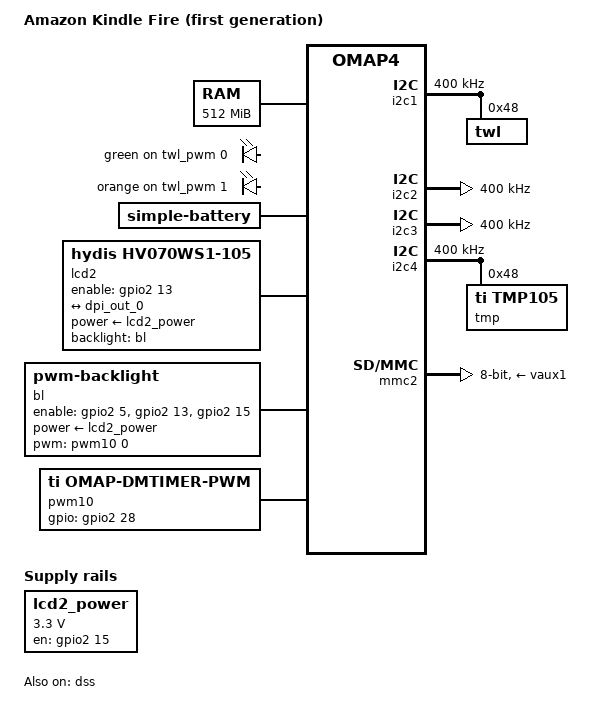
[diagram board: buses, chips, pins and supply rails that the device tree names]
// SPDX-License-Identifier: GPL-2.0-only
/*
 * Copyright (C) 2016 Paul Kocialkowski <contact@paulk.fr>
 *
 * 04/25/2021:
 * Hansem Ro 					: Backlight, PWM LED, PWM GPTimer, Battery, and pinmux configs, and all other crucial platform support
 * Michael John Sakellaropoulos : Added LCD powereg, Added required DSS nodes and graph_port connections for LCD2 over DPI
 */
/dts-v1/;

#include "omap443x.dtsi"

/ {
	model = "Amazon Kindle Fire (first generation)";
	compatible = "amazon,omap4-kc1", "ti,omap4430", "ti,omap4";

	memory@80000000 {
		device_type = "memory";
		reg = <0x80000000 0x20000000>; /* 512 MB */
	};

	led-controller {
		compatible = "pwm-leds";

		led-1 {
			label = "green";
			pwms = <&twl_pwm 0 7812500>;
			max-brightness = <127>;
		};

		led-2 {
			label = "orange";
			pwms = <&twl_pwm 1 7812500>;
			max-brightness = <127>;
		};
	};

	bat: battery {
		compatible = "simple-battery";
		/* Documentation/devicetree/bindings/power/supply/battery.yaml */
	};

	chosen {
		#address-cells = <1>;
		#size-cells = <1>;
		ranges;

		stdout-path = "serial2";

	};

	lcd2: display  {
		//pinctrl-names = "default";
		//pinctrl-0 = <&lcd_pins>;
		compatible = "hydis,hv070ws1-105";
		status = "ok";
		label = "lcd2";
		power-supply = <&lcd2_power>;
		backlight = <&bl>;
		enable-gpios = <&gpio2 13 GPIO_ACTIVE_HIGH>;

		ports {
			#address-cells = <1>;
			#size-cells = <0>;
			lcd_dpi_port: port@0 {
				data-lines = <24>;
				//reg = <1>; //Technically, should have no effect on omap4 platform, setting to <1> stops display working
				connector-type = <17>; //drm_mode.c , DRM_MODE_CONNECTOR_DPI
				connector_type = <17>; //drm_mode.c , DRM_MODE_CONNECTOR_DPI, tried to resolve missing connector_type warning
				panel_dpi_in: endpoint@0 {
					data-lines = <24>;
					remote-endpoint = <&dpi_out_0>;
				};
			};
		};
	};

	/* LCD Regulator 3v3 */
	lcd2_power: lcd2_power_reg {
		compatible = "regulator-fixed";
		regulator-name = "lcd2_power_reg";
		regulator-min-microvolt = <3300000>;
		regulator-max-microvolt = <3300000>;
		gpio = <&gpio2 15 GPIO_ACTIVE_HIGH>; /* gpio_47 3v3 LCD_EN */
		startup-delay-us = <70000>;
		enable-active-high;
		regulator-always-on;
		regulator-boot-on;
	};

	bl: backlight {
		pinctrl-names = "default";
		pinctrl-0 = <&backlight_pins>;
		compatible = "pwm-backlight";
		brightness-levels = <0 4 8 16 32 64 128 255>;
		num-interpolated-steps = <256>;
		default-brightness-level = <4>;
		enable-gpio = <
			&gpio2 5 GPIO_ACTIVE_HIGH /* gpio_37 OMAP_RGB_SHTDOWN */
			&gpio2 13 GPIO_ACTIVE_HIGH /* gpio_45 LCD_EN */
			&gpio2 15 GPIO_ACTIVE_HIGH /* gpio_47 3V3_EN */
			>;
		power-supply = <&lcd2_power>;
		pwms = <&pwm10 0 75000 0>; /* 75 KHz */
	};

	pwm10: dmtimer-pwm@10 {
		pinctrl-names = "default";
		pinctrl-0 = <&timer10_pins>;
		gpio = <&gpio2 28 GPIO_ACTIVE_HIGH>; /* gpio_92 */
		compatible = "ti,omap-dmtimer-pwm";
		ti,timers = <&timer10>;
		ti,prescaler = <0>; /* prescale = 1 */
		ti,clock-source = <1>; /* 32 KHz source */
		#pwm-cells = <3>;
	};
};

&dsi1 {
	status = "disabled";
};

&dsi2 {
	status = "disabled";
	vdd-supply = <&vcxio>;
};

&venc {
	status = "disabled";
};

&omap4_pmx_core {
	pinctrl-names = "default";

	dss_dpi_pins: pinmux_dss_dpi_pins {
		pinctrl-single,pins = <
			OMAP4_IOPAD(0x162, PIN_OUTPUT | MUX_MODE5)	/* dispc2_data23 */
			OMAP4_IOPAD(0x164, PIN_OUTPUT | MUX_MODE5) 	/* dispc2_data22 */
			OMAP4_IOPAD(0x166, PIN_OUTPUT | MUX_MODE5)	/* dispc2_data21 */
			OMAP4_IOPAD(0x168, PIN_OUTPUT | MUX_MODE5)	/* dispc2_data20 */
			OMAP4_IOPAD(0x16a, PIN_OUTPUT | MUX_MODE5)	/* dispc2_data19 */
			OMAP4_IOPAD(0x16c, PIN_OUTPUT | MUX_MODE5)	/* dispc2_data18 */
			OMAP4_IOPAD(0x16e, PIN_OUTPUT | MUX_MODE5)	/* dispc2_data15 */
			OMAP4_IOPAD(0x170, PIN_OUTPUT | MUX_MODE5)	/* dispc2_data14 */
			OMAP4_IOPAD(0x172, PIN_OUTPUT | MUX_MODE5)	/* dispc2_data13 */
			OMAP4_IOPAD(0x174, PIN_OUTPUT | MUX_MODE5)	/* dispc2_data12 */
			OMAP4_IOPAD(0x176, PIN_OUTPUT | MUX_MODE5)	/* dispc2_data11 */

			OMAP4_IOPAD(0x1b4, PIN_OUTPUT | MUX_MODE5)	/* dispc2_data10 */
			OMAP4_IOPAD(0x1b6, PIN_OUTPUT | MUX_MODE5)	/* dispc2_data9 */
			OMAP4_IOPAD(0x1b8, PIN_OUTPUT | MUX_MODE5)	/* dispc2_data16 */
			OMAP4_IOPAD(0x1ba, PIN_OUTPUT | MUX_MODE5)	/* dispc2_data17 */
			OMAP4_IOPAD(0x1bc, PIN_OUTPUT | MUX_MODE5)	/* dispc2_hsync */
			OMAP4_IOPAD(0x1be, PIN_OUTPUT | MUX_MODE5)	/* dispc2_pclk */
			OMAP4_IOPAD(0x1c0, PIN_OUTPUT | MUX_MODE5)	/* dispc2_vsync */
			OMAP4_IOPAD(0x1c2, PIN_OUTPUT | MUX_MODE5)	/* dispc2_de */
			OMAP4_IOPAD(0x1c4, PIN_OUTPUT | MUX_MODE5)	/* dispc2_data8 */
			OMAP4_IOPAD(0x1c6, PIN_OUTPUT | MUX_MODE5)	/* dispc2_data7 */
			OMAP4_IOPAD(0x1c8, PIN_OUTPUT | MUX_MODE5)	/* dispc2_data6 */
			OMAP4_IOPAD(0x1ca, PIN_OUTPUT | MUX_MODE5)	/* dispc2_data5 */
			OMAP4_IOPAD(0x1cc, PIN_OUTPUT | MUX_MODE5)	/* dispc2_data4 */
			OMAP4_IOPAD(0x1ce, PIN_OUTPUT | MUX_MODE5)	/* dispc2_data3 */

			OMAP4_IOPAD(0x1d0, PIN_OUTPUT | MUX_MODE5)	/* dispc2_data2 */
			OMAP4_IOPAD(0x1d2, PIN_OUTPUT | MUX_MODE5)	/* dispc2_data1 */
			OMAP4_IOPAD(0x1d4, PIN_OUTPUT | MUX_MODE5)	/* dispc2_data0 */
		>;
	};

	backlight_pins: pinmux_backlight_pins {
		pinctrl-single,pins = <
			OMAP4_IOPAD(0x06a, PIN_OUTPUT | MUX_MODE3)		/* gpio_45 */
		>;
	};

	timer10_pins: pinmux_timer10_pins {
		pinctrl-single,pins = <
			OMAP4_IOPAD(0x0d6, PIN_OUTPUT | MUX_MODE1) /* dmtimer10_pwm_evt.gpio_94*/
		>;
	};

	lcd_pins: pinmux_lcd_pins {
		pinctrl-single,pins = <
			OMAP4_IOPAD(0x05a, PIN_OUTPUT | MUX_MODE3) /* gpio_37 OMAP_RGB_SHTDOWN */
			OMAP4_IOPAD(0x06a, PIN_OUTPUT | MUX_MODE3) /* gpio_45 LCD_PWR_ON */
			OMAP4_IOPAD(0x06e, PIN_OUTPUT | MUX_MODE3) /* gpio_47 3V3 rail enable */
		>;
	};

	uart3_pins: pinmux_uart3_pins {
		pinctrl-single,pins = <
			OMAP4_IOPAD(0x144, PIN_INPUT | MUX_MODE0)		/* uart3_rx_irrx */
			OMAP4_IOPAD(0x146, PIN_OUTPUT | MUX_MODE0)		/* uart3_tx_irtx */
		>;
	};

	i2c1_pins: pinmux_i2c1_pins {
		pinctrl-single,pins = <
			OMAP4_IOPAD(0x122, PIN_INPUT_PULLUP | MUX_MODE0)	/* i2c1_scl */
			OMAP4_IOPAD(0x124, PIN_INPUT_PULLUP | MUX_MODE0)	/* i2c1_sda */
		>;
	};

	i2c2_pins: pinmux_i2c2_pins {
		pinctrl-single,pins = <
			OMAP4_IOPAD(0x126, PIN_INPUT_PULLUP | MUX_MODE0)	/* i2c2_scl */
			OMAP4_IOPAD(0x128, PIN_INPUT_PULLUP | MUX_MODE0)	/* i2c2_sda */
		>;
	};

	i2c3_pins: pinmux_i2c3_pins {
		pinctrl-single,pins = <
			OMAP4_IOPAD(0x12a, PIN_INPUT_PULLUP | MUX_MODE0)	/* i2c3_scl */
			OMAP4_IOPAD(0x12c, PIN_INPUT_PULLUP | MUX_MODE0)	/* i2c3_sda */
		>;
	};

	i2c4_pins: pinmux_i2c4_pins {
		pinctrl-single,pins = <
			OMAP4_IOPAD(0x12e, PIN_INPUT_PULLUP | MUX_MODE0)	/* i2c4_scl */
			OMAP4_IOPAD(0x130, PIN_INPUT_PULLUP | MUX_MODE0)	/* i2c4_sda */
		>;
	};

	mmc2_pins: pinmux_mmc2_pins {
		pinctrl-single,pins = <
			OMAP4_IOPAD(0x040, PIN_INPUT_PULLUP | MUX_MODE1)	/* sdmmc2_dat0 */
			OMAP4_IOPAD(0x042, PIN_INPUT_PULLUP | MUX_MODE1)	/* sdmmc2_dat1 */
			OMAP4_IOPAD(0x044, PIN_INPUT_PULLUP | MUX_MODE1)	/* sdmmc2_dat2 */
			OMAP4_IOPAD(0x046, PIN_INPUT_PULLUP | MUX_MODE1)	/* sdmmc2_dat3 */
			OMAP4_IOPAD(0x048, PIN_INPUT_PULLUP | MUX_MODE1)	/* sdmmc2_dat4 */
			OMAP4_IOPAD(0x04a, PIN_INPUT_PULLUP | MUX_MODE1)	/* sdmmc2_dat5 */
			OMAP4_IOPAD(0x04c, PIN_INPUT_PULLUP | MUX_MODE1)	/* sdmmc2_dat6 */
			OMAP4_IOPAD(0x04e, PIN_INPUT_PULLUP | MUX_MODE1)	/* sdmmc2_dat7 */
			OMAP4_IOPAD(0x082, PIN_INPUT_PULLUP | MUX_MODE1)	/* sdmmc2_clk */
			OMAP4_IOPAD(0x084, PIN_INPUT_PULLUP | MUX_MODE1)	/* sdmmc2_cmd */
		>;
	};

	usb_otg_hs_pins: pinmux_usb_otg_hs_pins {
		pinctrl-single,pins = <
			OMAP4_IOPAD(0x194, PIN_OUTPUT_PULLDOWN | MUX_MODE0)	/* usba0_otg_ce */
			OMAP4_IOPAD(0x196, PIN_INPUT | MUX_MODE0)		/* usba0_otg_dp */
			OMAP4_IOPAD(0x198, PIN_INPUT | MUX_MODE0)		/* usba0_otg_dm */
		>;
	};
};

&uart3 {
	pinctrl-names = "default";
	pinctrl-0 = <&uart3_pins>;

	interrupts-extended = <&wakeupgen GIC_SPI 74 IRQ_TYPE_LEVEL_HIGH
			       &omap4_pmx_core OMAP4_UART3_RX>;
};

&i2c1 {
	pinctrl-names = "default";
	pinctrl-0 = <&i2c1_pins>;

	clock-frequency = <400000>;

	twl: twl@48 {
		reg = <0x48>;
		/* IRQ# = 7 */
		interrupts = <GIC_SPI 7 IRQ_TYPE_LEVEL_HIGH>; /* IRQ_SYS_1N cascaded to gic */

		twl_power: power {
			compatible = "ti,twl6030-power";
			ti,system-power-controller;
		};
	};
};

&i2c2 {
	pinctrl-names = "default";
	pinctrl-0 = <&i2c2_pins>;

	clock-frequency = <400000>;
};

&i2c3 {
	pinctrl-names = "default";
	pinctrl-0 = <&i2c3_pins>;

	clock-frequency = <400000>;
};

&i2c4 {
	pinctrl-names = "default";
	pinctrl-0 = <&i2c4_pins>;

	clock-frequency = <400000>;

	tmp@48 {
		compatible = "ti,tmp105";
		reg = <0x48>;
		status = "okay";
	};
};

&mmc1 {
	status = "disabled";
};

&mmc2 {
	pinctrl-names = "default";
	pinctrl-0 = <&mmc2_pins>;

	vmmc-supply = <&vaux1>;
	ti,non-removable;
	bus-width = <8>;
};

&mmc3 {
	status = "disabled";
};

&mmc4 {
	status = "disabled";
};

&usb_otg_hs {
	pinctrl-names = "default";
	pinctrl-0 = <&usb_otg_hs_pins>;

	interface-type = <1>;
	mode = <3>;
	power = <50>;
};

#include "twl6030.dtsi"
#include "twl6030_omap4.dtsi"

&twl_usb_comparator {
	usb-supply = <&vusb>;
};

&dss {
	compatible = "ti,omap4-dss";
	status = "ok";
	pinctrl-names = "default";
	pinctrl-0 = <&dss_dpi_pins>;
	connector_type = <17>; //drm_mode.c , DRM_MODE_CONNECTOR_DPI
	connector-type = <17>; //drm_mode.c , DRM_MODE_CONNECTOR_DPI
	vdda_video-supply = <&v1v8>;
	
	dispc@0  {
		status = "ok";
	};

	ports {
		#address-cells = <1>;
		#size-cells = <0>;
		dss_dpi_port: port@0 {
			data-lines = <24>;
			reg = <1>;
			connector_type = <17>; //drm_mode.c , DRM_MODE_CONNECTOR_DPI
			connector-type = <17>; //drm_mode.c , DRM_MODE_CONNECTOR_DPI
			dpi_out_0: endpoint@0 {
				connector_type = <17>; //drm_mode.c , DRM_MODE_CONNECTOR_DPI
				connector-type = <17>; //drm_mode.c , DRM_MODE_CONNECTOR_DPI
				data-lines = <24>;
				remote-endpoint = <&panel_dpi_in>;
			};
		};
	};
};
